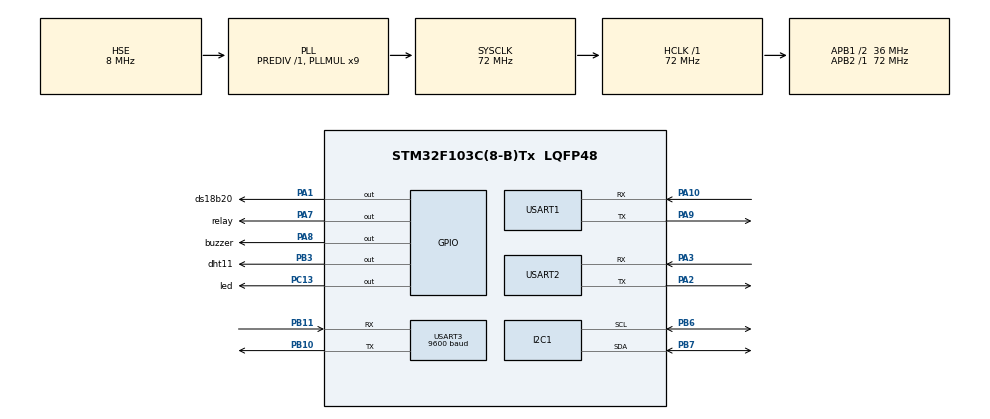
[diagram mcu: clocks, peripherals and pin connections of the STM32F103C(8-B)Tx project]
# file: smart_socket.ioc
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FREERTOS.Tasks01=defaultTask,24,128,StartDefaultTask,Default,NULL,Dynamic,NULL,NULL
FREERTOS.configTOTAL_HEAP_SIZE=10240
Mcu.Family=STM32F1
Mcu.Name=STM32F103C(8-B)Tx
Mcu.Package=LQFP48
NVIC.I2C1_ER_IRQn=true\:5\:0\:false\:false\:true\:true\:true\:true\:true
NVIC.I2C1_EV_IRQn=true\:5\:0\:false\:false\:true\:true\:true\:true\:true
NVIC.PriorityGroup=NVIC_PRIORITYGROUP_4
NVIC.USART1_IRQn=true\:5\:0\:false\:false\:true\:true\:true\:true\:true
NVIC.USART2_IRQn=true\:5\:0\:false\:false\:true\:true\:true\:true\:true
NVIC.USART3_IRQn=true\:5\:0\:false\:false\:true\:true\:true\:true\:true
PA1.GPIO_Label=ds18b20
PA1.Signal=GPIO_Output
PA10.Mode=Asynchronous
PA10.Signal=USART1_RX
PA13.Mode=Serial_Wire
PA13.Signal=SYS_JTMS-SWDIO
PA14.Mode=Serial_Wire
PA14.Signal=SYS_JTCK-SWCLK
PA2.Mode=Asynchronous
PA2.Signal=USART2_TX
PA3.Mode=Asynchronous
PA3.Signal=USART2_RX
PA7.GPIO_Label=relay
PA7.Signal=GPIO_Output
PA8.GPIO_Label=buzzer
PA8.Signal=GPIO_Output
PA9.Mode=Asynchronous
PA9.Signal=USART1_TX
PB10.Mode=Asynchronous
PB10.Signal=USART3_TX
PB11.Mode=Asynchronous
PB11.Signal=USART3_RX
PB3.GPIO_Label=dht11
PB3.Signal=GPIO_Output
PB6.Mode=I2C
PB6.Signal=I2C1_SCL
PB7.Mode=I2C
PB7.Signal=I2C1_SDA
PC13-TAMPER-RTC.GPIO_Label=led
PC13-TAMPER-RTC.Signal=GPIO_Output
PC14-OSC32_IN.Mode=LSE-External-Oscillator
PC14-OSC32_IN.Signal=RCC_OSC32_IN
PC15-OSC32_OUT.Mode=LSE-External-Oscillator
PC15-OSC32_OUT.Signal=RCC_OSC32_OUT
PD0-OSC_IN.Mode=HSE-External-Oscillator
PD0-OSC_IN.Signal=RCC_OSC_IN
PD1-OSC_OUT.Mode=HSE-External-Oscillator
PD1-OSC_OUT.Signal=RCC_OSC_OUT
ProjectManager.HeapSize=0x200
ProjectManager.StackSize=0x400
ProjectManager.TargetToolchain=MDK-ARM V5.32
RCC.AHBFreq_Value=72000000
RCC.APB1CLKDivider=RCC_HCLK_DIV2
RCC.APB1Freq_Value=36000000
RCC.APB1TimFreq_Value=72000000
RCC.APB2Freq_Value=72000000
RCC.APB2TimFreq_Value=72000000
RCC.HCLKFreq_Value=72000000
RCC.PLLMUL=RCC_PLL_MUL9
RCC.PLLSourceVirtual=RCC_PLLSOURCE_HSE
RCC.SYSCLKFreq_VALUE=72000000
RCC.SYSCLKSource=RCC_SYSCLKSOURCE_PLLCLK
RCC.USBFreq_Value=72000000
TIM1.Prescaler=72-1
USART1.VirtualMode=VM_ASYNC
USART2.VirtualMode=VM_ASYNC
USART3.BaudRate=9600
USART3.VirtualMode=VM_ASYNC
VP_FREERTOS_VS_CMSIS_V2.Mode=CMSIS_V2
VP_TIM1_VS_ClockSourceINT.Mode=Internal
board=custom

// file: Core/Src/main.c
/* USER CODE BEGIN Header */
/**
  ******************************************************************************
  * @file           : main.c
  * @brief          : Main program body
  ******************************************************************************
  * @attention
  *
  * Copyright (c) 2026 STMicroelectronics.
  * All rights reserved.
  *
  * This software is licensed under terms that can be found in the LICENSE file
  * in the root directory of this software component.
  * If no LICENSE file comes with this software, it is provided AS-IS.
  *
  ******************************************************************************
  */
/* USER CODE END Header */
#include "main.h"
#include "cmsis_os.h"
#include "i2c.h"
#include "tim.h"
#include "usart.h"
#include "gpio.h"

/* USER CODE BEGIN Includes */
#include <stdio.h>
#include "buzzer.h"
/* USER CODE END Includes */

void SystemClock_Config(void);
void MX_FREERTOS_Init(void);

int main(void)
{

  /* MCU Configuration--------------------------------------------------------*/

  /* Reset of all peripherals, Initializes the Flash interface and the Systick. */
  HAL_Init();

  /* Configure the system clock */
  SystemClock_Config();

  /* Initialize all configured peripherals */
  MX_GPIO_Init();
  MX_I2C1_Init();
  MX_USART1_UART_Init();
  MX_TIM1_Init();
  MX_USART3_UART_Init();
  MX_USART2_UART_Init();
  /* USER CODE BEGIN 2 */
	buzzer_on();
	printf("freertos init OK!\r\n");
	printf("\r\n");

  /* USER CODE END 2 */

  /* Init scheduler */
  osKernelInitialize();  /* Call init function for freertos objects (in cmsis_os2.c) */
  MX_FREERTOS_Init();

  /* Start scheduler */
  osKernelStart();

  /* We should never get here as control is now taken by the scheduler */

  /* Infinite loop */
  while (1)
  {

  }
}

void SystemClock_Config(void)
{
  RCC_OscInitTypeDef RCC_OscInitStruct = {0};
  RCC_ClkInitTypeDef RCC_ClkInitStruct = {0};

  /** Initializes the RCC Oscillators according to the specified parameters
  * in the RCC_OscInitTypeDef structure.
  */
  RCC_OscInitStruct.OscillatorType = RCC_OSCILLATORTYPE_HSE;
  RCC_OscInitStruct.HSEState = RCC_HSE_ON;
  RCC_OscInitStruct.HSEPredivValue = RCC_HSE_PREDIV_DIV1;
  RCC_OscInitStruct.HSIState = RCC_HSI_ON;
  RCC_OscInitStruct.PLL.PLLState = RCC_PLL_ON;
  RCC_OscInitStruct.PLL.PLLSource = RCC_PLLSOURCE_HSE;
  RCC_OscInitStruct.PLL.PLLMUL = RCC_PLL_MUL9;
  if (HAL_RCC_OscConfig(&RCC_OscInitStruct) != HAL_OK)
  {
    Error_Handler();
  }

  /** Initializes the CPU, AHB and APB buses clocks
  */
  RCC_ClkInitStruct.ClockType = RCC_CLOCKTYPE_HCLK|RCC_CLOCKTYPE_SYSCLK
                              |RCC_CLOCKTYPE_PCLK1|RCC_CLOCKTYPE_PCLK2;
  RCC_ClkInitStruct.SYSCLKSource = RCC_SYSCLKSOURCE_PLLCLK;
  RCC_ClkInitStruct.AHBCLKDivider = RCC_SYSCLK_DIV1;
  RCC_ClkInitStruct.APB1CLKDivider = RCC_HCLK_DIV2;
  RCC_ClkInitStruct.APB2CLKDivider = RCC_HCLK_DIV1;

  if (HAL_RCC_ClockConfig(&RCC_ClkInitStruct, FLASH_LATENCY_2) != HAL_OK)
  {
    Error_Handler();
  }
}

void Error_Handler(void)
{
  __disable_irq();
  while (1)
  {
  }
}

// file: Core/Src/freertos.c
/* USER CODE BEGIN Header */
/**
  ******************************************************************************
  * File Name          : freertos.c
  * Description        : Code for freertos applications
  ******************************************************************************
  * @attention
  *
  * Copyright (c) 2026 STMicroelectronics.
  * All rights reserved.
  *
  * This software is licensed under terms that can be found in the LICENSE file
  * in the root directory of this software component.
  * If no LICENSE file comes with this software, it is provided AS-IS.
  *
  ******************************************************************************
  */
/* USER CODE END Header */

#include "FreeRTOS.h"
#include "task.h"
#include "main.h"
#include "cmsis_os.h"

/* USER CODE BEGIN Includes */
#include <stdio.h>
#include <string.h>
#include "buzzer.h"
#include "ds18b20.h"
#include "dht11.h"
#include "pzem_drive.h"
#include "queue.h"
#include "sensor_msg.h"
#include "usart.h"
#include "esp8266.h"
#include "state_led.h"
#include "oled_iic.h"
/* USER CODE END Includes */

/* USER CODE BEGIN Variables */
//在线状态标志位 (1=在线, 0=掉线)
static uint8_t mqtt_online_flag = 0;
static char displayBuf[20];

typedef struct {
    float voltage;
    float current;
    float power;
    float temp;
} OLED_Data_t;
OLED_Data_t oled_data = {0};

SensorMsg_t global_msg;
/* USER CODE END Variables */
/* Definitions for defaultTask */
osThreadId_t defaultTaskHandle;
const osThreadAttr_t defaultTask_attributes = {
  .name = "defaultTask",
  .stack_size = 128 * 4,
  .priority = (osPriority_t) osPriorityNormal,
};

/* USER CODE BEGIN FunctionPrototypes */
//打印队列
QueueHandle_t xQueueSensor;
QueueHandle_t xQueueDHT11;
QueueHandle_t xQueueDS18B20;
QueueHandle_t xQueuePZEM;
//串口打印
void PrintTask(void *argument);
void xUploadTask(void *argument);
//oled显示
void xOLEDTask(void *argument);

// 【新增】MQTT 接收与解析任务声明
void xMqttRxTask(void *argument);

/* USER CODE END FunctionPrototypes */

void StartDefaultTask(void *argument);

void MX_FREERTOS_Init(void); /* (MISRA C 2004 rule 8.1) */

void MX_FREERTOS_Init(void) {

  /* Create the thread(s) */
  /* creation of defaultTask */
  defaultTaskHandle = osThreadNew(StartDefaultTask, NULL, &defaultTask_attributes);

  /* USER CODE BEGIN RTOS_THREADS */
  /* add threads, ... */
  //创建队列
	xQueueSensor = xQueueCreate(10, sizeof(SensorMsg_t));
	xQueueDHT11   = xQueueCreate(1, sizeof(SensorMsg_t));
	xQueueDS18B20 = xQueueCreate(1, sizeof(SensorMsg_t));
	xQueuePZEM    = xQueueCreate(1, sizeof(SensorMsg_t));

	  if(xQueueSensor == NULL || xQueueDHT11 == NULL || xQueueDS18B20 == NULL || xQueuePZEM == NULL) {
		  printf("Queues Creation Failed!\r\n");
	  } else {
		  printf("xQueuesSensor Create succeed!,size is : %d\r\n", sizeof(SensorMsg_t) * 10);
		  printf("xQueueDHT11 Create succeed!,size is : %d\r\n", sizeof(SensorMsg_t) * 1);
		  printf("xQueueDS18B20 Create succeed!,size is : %d\r\n", sizeof(SensorMsg_t) * 1);
		  printf("xQueuePZEM Create succeed!,size is : %d\r\n", sizeof(SensorMsg_t) * 1);
	  }
	printf("\r\n");
	//==============================================================================================//
	//dht11任务
	xTaskCreate(dht11_task, "dht11Task", 128, NULL, osPriorityAboveNormal, NULL);
	//ds18b20任务
	xTaskCreate(ds18b20_task, "ds18b20Task", 128, NULL, osPriorityAboveNormal, NULL);
	//pzem004t任务
	xTaskCreate(pzem004t_task, "pzem004tTask", 128, NULL, osPriorityAboveNormal, NULL);
	//打印任务
	xTaskCreate(PrintTask, "PrintTask", 256, NULL, osPriorityNormal, NULL);
	//esp8266任务
	xTaskCreate(xUploadTask, "esp8266Task", 512, NULL, osPriorityNormal, NULL);
	//MQTT解析任务
	xTaskCreate(xMqttRxTask, "mqttRxTask", 256, NULL, osPriorityAboveNormal, NULL);
  /* USER CODE END RTOS_THREADS */

}

void StartDefaultTask(void *argument)
{
  /* USER CODE BEGIN StartDefaultTask */
	OLED_Init();
    OLED_Clear();
  /* Infinite loop */
  for(;;)
  {
        float oled_voltage = oled_data.voltage;
        float oled_current = oled_data.current;
        float oled_power  = oled_data.power;
        float oled_temp    = oled_data.temp; 👆

        /* --- 1. 显示电压 --- */
        int v_int = (int)oled_voltage;
        int v_dec = (int)(oled_voltage * 10) % 10;
        sprintf(displayBuf, "V: %d.%d V    ", v_int, v_dec);
        OLED_ShowString(0, 0, displayBuf, 16);

        /* --- 2. 显示电流 --- */
        int c_int = (int)oled_current;
        int c_dec = (int)(oled_current * 100) % 100;
        sprintf(displayBuf, "I: %d.%02d A   ", c_int, c_dec);
        OLED_ShowString(0, 2, displayBuf, 16);

        /* --- 3. 显示功率 --- */
        int e_int = (int)oled_power;
        int e_dec = (int)(oled_power * 10) % 10;
        sprintf(displayBuf, "E: %d.%d W ", e_int, e_dec);
        OLED_ShowString(0, 4, displayBuf, 16);

        /* --- 4. 显示温度 --- */
        int t_int = (int)oled_temp;
        int t_dec = (int)(oled_temp * 10) % 10;
        sprintf(displayBuf, "T: %d.%d C   ", t_int, t_dec);
        OLED_ShowString(0, 6, displayBuf, 16);

        vTaskDelay(100);
  }
  /* USER CODE END StartDefaultTask */
}

/* USER CODE BEGIN Application */
void PrintTask(void *argument)
{
    SensorMsg_t msg;

    printf("PrintTask Ready.\r\n");

    while(1)
    {
        if(((xQueueReceive(xQueueSensor, &msg, portMAX_DELAY) == pdPASS)))
        {
			if(msg.source == SRC_DHT11) {
                oled_data.temp = msg.data.dht11.temp; // 更新温度
            }
            else if(msg.source == SRC_PZEM) {
                oled_data.voltage = msg.data.pzem.voltage; // 更新电压
                oled_data.current = msg.data.pzem.current; // 更新电流
                oled_data.power  = msg.data.pzem.power;  // 更新电能
            }

			if (mqtt_online_flag == 1)
			{
				switch(msg.source)
				{
					case SRC_DHT11:
						printf("[DHT11]   Temp: %.1f C, Humi: %.1f %%\r\n",
							   msg.data.dht11.temp, msg.data.dht11.humi);
						break;

					case SRC_DS18B20:
						printf("[DS18B20] Temp: %.2f C\r\n",
							   msg.data.ds18b20_temp);
						break;

					case SRC_PZEM:
						printf("=== PZEM-004T ===\r\n");
						printf(" Volt  : %.1f V\r\n", msg.data.pzem.voltage);
						printf(" Curr  : %.3f A\r\n", msg.data.pzem.current);
						printf(" Power : %.1f W\r\n", msg.data.pzem.power);
						printf(" Energy: %.0f Wh\r\n", msg.data.pzem.energy);
						printf(" Freq  : %.1f Hz\r\n", msg.data.pzem.frequency);
						printf(" PF    : %.2f\r\n", msg.data.pzem.pf);
						printf("=================\r\n");
						break;
				}
			}
        }
    }
}

void xUploadTask(void *argument)
{
    SensorMsg_t msg;
    char params_json[256];
    uint8_t sensor_index = 0;
    uint8_t data_found = 0;

    printf("Aliyun Upload Task Started.\r\n");
	printf("\r\n");

    for(;;)
    {
        // 检查连接状态
        if(mqtt_online_flag == 0)
        {
            printf("[Task] MQTT Disconnected. Trying to Reconnect...\r\n");

            // 尝试连接 (ESP_Init_MQTT 现在会返回 1 或 0)
            if(ESP_Init_MQTT() == 1)
            {
                mqtt_online_flag = 1; // 标记为在线
                printf("[Task] Reconnect Success!\r\n");
            }
            else
            {
                printf("[Task] Reconnect Failed. Retry in 5s...\r\n");
                vTaskDelay(pdMS_TO_TICKS(5000));

                continue;
            }
        }

        data_found = 0;
        memset(params_json, 0, sizeof(params_json));

        switch(sensor_index)
        {
            case 0: // PZEM
                if(xQueueReceive(xQueuePZEM, &msg, 0) == pdPASS) {
                    printf("[Upload] Processing PZEM...\r\n");
                    printf("\r\n");
                    sprintf(params_json, "{\"Voltage\":%.1f,\"Current\":%.3f,\"Power\":%.1f,\"Energy\":%.0f}",
                            msg.data.pzem.voltage, msg.data.pzem.current, msg.data.pzem.power, msg.data.pzem.energy);
                    data_found = 1;
                }
                break;

            case 1: // DHT11
                if(xQueueReceive(xQueueDHT11, &msg, 0) == pdPASS) {
                    printf("[Upload] Processing DHT11...\r\n");
                    sprintf(params_json, "{\"Temperature\":%.1f,\"Humidity\":%.1f}",
                            msg.data.dht11.temp, msg.data.dht11.humi);
                    data_found = 1;
                }
                break;

            case 2: // DS18B20
                if(xQueueReceive(xQueueDS18B20, &msg, 0) == pdPASS) {
                    printf("[Upload] Processing DS18B20...\r\n");
                    sprintf(params_json, "{\"WaterTemp\":%.2f}",
                            msg.data.ds18b20_temp);
                    data_found = 1;
                }
                break;
        }
        // 发送数据与错误检测
        if(data_found && strlen(params_json) > 0)
        {
            // 尝试发送，并获取结果
            uint8_t send_result = ESP_MQTT_Publish(params_json);

            if(send_result == 1)
            {
                vTaskDelay(pdMS_TO_TICKS(250));
				mqttSend_normal();
            }
            else
            {
                // 发送失败，判定为断线
                printf("[Task] Send Failed! Triggering Reconnect...\r\n");
                mqtt_online_flag = 0; // 标记掉线，下次循环自动重连
				mqttSend_abnormal();
            }
        }
        // 索引切换
        sensor_index++;
        if(sensor_index > 2) sensor_index = 0;

        if(!data_found) {
            vTaskDelay(pdMS_TO_TICKS(100));
        }
    }
}

// ======================================================================
// 【新增】MQTT 接收解析与继电器控制任务
// ======================================================================
void xMqttRxTask(void *argument)
{
    printf("MQTT RX Task Started.\r\n");

    for(;;)
    {
        ESP_Process_Rx_Data();
        // 延时 50ms。既不占用太多CPU资源，又能实现高灵敏度响应
        vTaskDelay(pdMS_TO_TICKS(50));
    }
}

/* USER CODE END Application */
